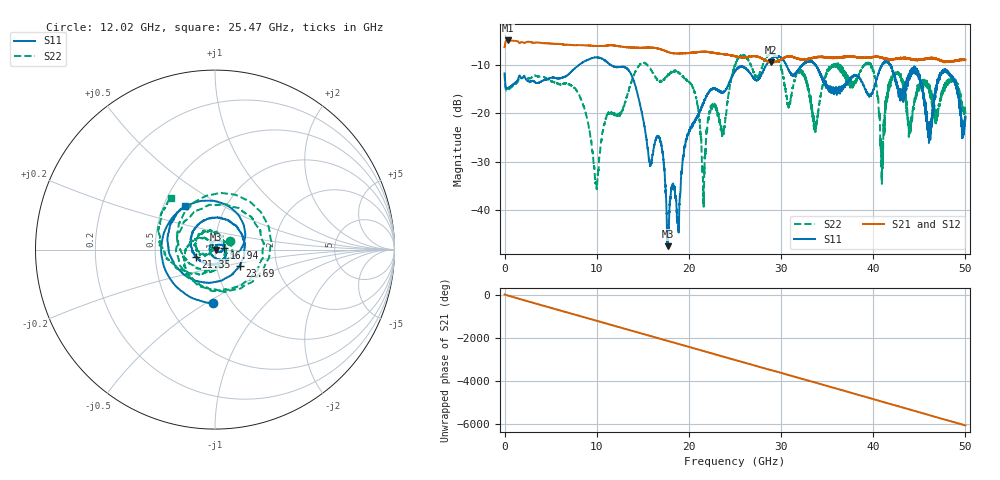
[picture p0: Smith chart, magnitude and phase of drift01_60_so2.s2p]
!Created with skrf (http://scikit-rf.org).
# Hz S RI R 50.0
!freq ReS11 ImS11 ReS21 ImS21 ReS12 ImS12 ReS22 ImS22
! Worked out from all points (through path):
!   10001 points, 300 kHz to 50 GHz, reference 50 ohm
!   highest |S21| = -5.05 dB at 325.3 MHz (marker M1); lowest = -9.6 dB at 28.9 GHz (marker M2)
!   group delay of S21, straight-line fit = 336 ps
!   lowest |S11| = -47.4 dB at 17.69 GHz (marker M3), VSWR 1.01, Z = 50.4 - j0.0837 ohm
!   |S11| at or under -10 dB: start of sweep to 8.142 GHz; 11.43 GHz to 28.42 GHz (16.99 GHz wide, 85.3 % of centre); 41.83 GHz to end of sweep (the widest 3 of 12)
!   |S22| runs from -39.3 to -7.6 dB; largest |S21 - S12| = 0.016
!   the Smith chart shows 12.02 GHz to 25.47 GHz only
!   S11 on the Smith chart (normalised r, x): 12.02 GHz: 0.82, -0.54; 16.94 GHz: 1.10, +0.02; 21.35 GHz: 0.80, -0.06; 23.69 GHz: 1.30, -0.24; 25.47 GHz: 0.64, +0.35
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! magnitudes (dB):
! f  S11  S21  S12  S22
! 300 kHz  -11.8  -6.4  -6.5  -11.8
! 325.3 MHz  -14.9  -5.0  -5.1  -15.4
! 8.335 GHz  -9.7  -6.0  -6.0  -17.4
! 9.945 GHz  -8.5  -6.2  -6.2  -35.0
! 12.02 GHz  -10.5  -6.1  -6.1  -20.4
! 16.67 GHz  -24.7  -6.7  -6.7  -13.3
! 16.94 GHz  -25.9  -6.9  -6.9  -13.3
! 17.69 GHz  -47.4  -7.4  -7.4  -12.3
! 20.43 GHz  -22.5  -7.6  -7.6  -14.9
! 21.35 GHz  -18.8  -7.4  -7.4  -26.6
! 23.69 GHz  -15.6  -7.9  -7.9  -23.9
! 25 GHz  -11.4  -8.3  -8.3  -10.1
! 25.47 GHz  -10.5  -8.5  -8.5  -8.4
! 28.9 GHz  -9.0  -9.6  -9.6  -7.8
! 33.34 GHz  -9.4  -8.7  -8.7  -19.2
! 39.5 GHz  -16.3  -8.6  -8.6  -9.7
! 40.97 GHz  -10.1  -8.7  -8.7  -27.4
! 41.67 GHz  -9.5  -8.8  -8.9  -14.6
! 44.8 GHz  -11.7  -9.0  -9.1  -14.3
! 46.1 GHz  -24.9  -8.8  -8.7  -15.0
! 48.01 GHz  -11.3  -9.5  -9.4  -13.9
! 50 GHz  -20.9  -9.1  -9.0  -20.2
